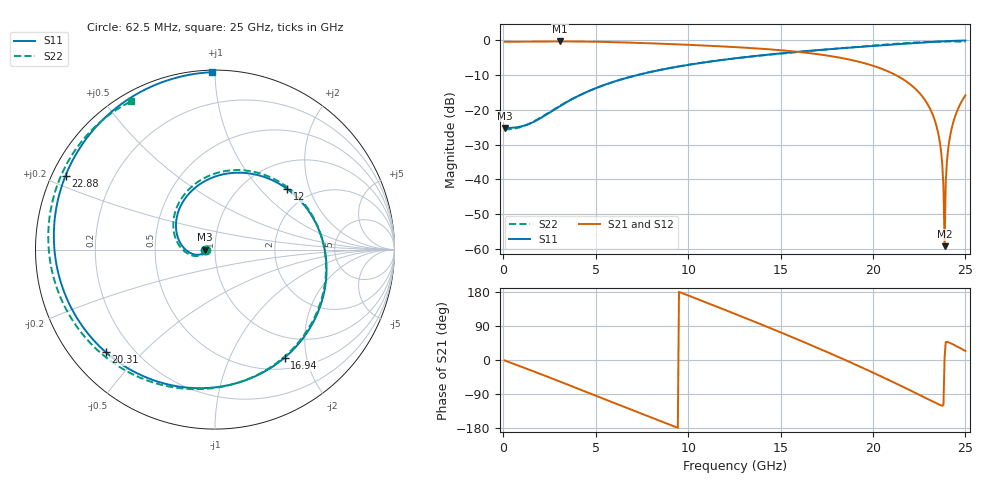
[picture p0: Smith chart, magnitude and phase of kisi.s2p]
! BV_vna_rf_hblb1_q070f25s_e35: /Attenuator Amp Switches/RF_HBLB_PORT1 via F.Cu→In2.Cu at (144.901, 131.654)
! stackup: VNA from the board file and its kisi.json
! ports: 1 in, 2 out
! kisi-fdtd, conformal, dfine 0.07 mm, 393984 cells
# Hz S RI R 50
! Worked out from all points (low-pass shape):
!   400 points, 62.5 MHz to 25 GHz, reference 50 ohm
!   highest |S21| = -0.38 dB at 3.062 GHz (marker M1); lowest = -59.2 dB at 23.88 GHz (marker M2)
!   |S21| within 3 dB of the highest: start of sweep to 15.94 GHz
!   lowest |S11| = -25.3 dB at 62.5 MHz (marker M3), VSWR 1.12, Z = 44.8 - j0.049 ohm
!   |S11| at or under -10 dB: start of sweep to 7.274 GHz
!   |S22| runs from -25.7 to -0.4 dB; largest |S21 - S12| = 4.1e-05
!   S11 on the Smith chart (normalised r, x): 62.5 MHz: 0.90, -0.00; 12 GHz: 1.54, +1.43; 16.94 GHz: 0.66, -1.64; 20.31 GHz: 0.10, -0.39; 22.88 GHz: 0.04, +0.23; 25 GHz: 0.01, +0.98
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6.25e7  -0.0546 -0.000545  0.9465 -0.0188  0.9464 -0.0188  -0.0519 -0.000796
3.0625e9  -0.1094 -0.028  0.521 -0.8035  0.521 -0.8036  -0.1087 -0.0359
4.25e9  -0.1675 0.00291  0.1683 -0.9387  0.1683 -0.9388  -0.1673 -0.0117
6.125e9  -0.2174 0.1434  -0.4067 -0.8387  -0.4067 -0.8387  -0.2316 0.1173
8.375e9  -0.0986 0.3544  -0.8306 -0.3224  -0.8306 -0.3224  -0.1402 0.341
1.0125e10  0.1236 0.4285  -0.8343 0.1784  -0.8343 0.1784  0.0803 0.4407
1.2e10  0.4026 0.3375  -0.5407 0.6003  -0.5407 0.6004  0.3796 0.3642
1.25625e10  0.4767 0.2712  -0.4098 0.6789  -0.4098 0.6789  0.4607 0.2972
1.45e10  0.6207 -0.0769  0.0894 0.7282  0.0894 0.7282  0.6177 -0.065
1.66875e10  0.4378 -0.5552  0.5042 0.4002  0.5042 0.4002  0.4326 -0.5532
1.69375e10  0.3886 -0.6015  0.5281 0.3459  0.5281 0.3459  0.3838 -0.5994
1.875e10  -0.1125 -0.7717  0.5214 -0.0504  0.5214 -0.0504  -0.0995 -0.7776
2.03125e10  -0.6096 -0.5707  0.3061 -0.2602  0.3061 -0.2602  -0.5745 -0.6253
2.0875e10  -0.7517 -0.4082  0.2093 -0.2806  0.2093 -0.2805  -0.718 -0.495
2.2875e10  -0.8327 0.4119  -0.0245 -0.1277  -0.0245 -0.1277  -0.9209 0.1862
2.3375e10  -0.7178 0.6169  -0.0258 -0.061  -0.0258 -0.061  -0.8743 0.3709
2.36875e10  -0.6178 0.7304  -0.0123 -0.0215  -0.0123 -0.0215  -0.8243 0.4801
2.38125e10  -0.5721 0.7716  -0.00378 -0.00685  -0.00378 -0.00685  -0.8 0.5218
2.3875e10  -0.5481 0.7911  0.00109 0.000141  0.00109 0.000141  -0.787 0.5421
2.39375e10  -0.5234 0.8099  0.00637 0.00688  0.00637 0.00688  -0.7734 0.562
2.4125e10  -0.4451 0.8614  0.0246 0.0254  0.0246 0.0254  -0.7292 0.6194
2.5e10  -0.0165 0.9884  0.1473 0.0656  0.1473 0.0656  -0.4663 0.8264
